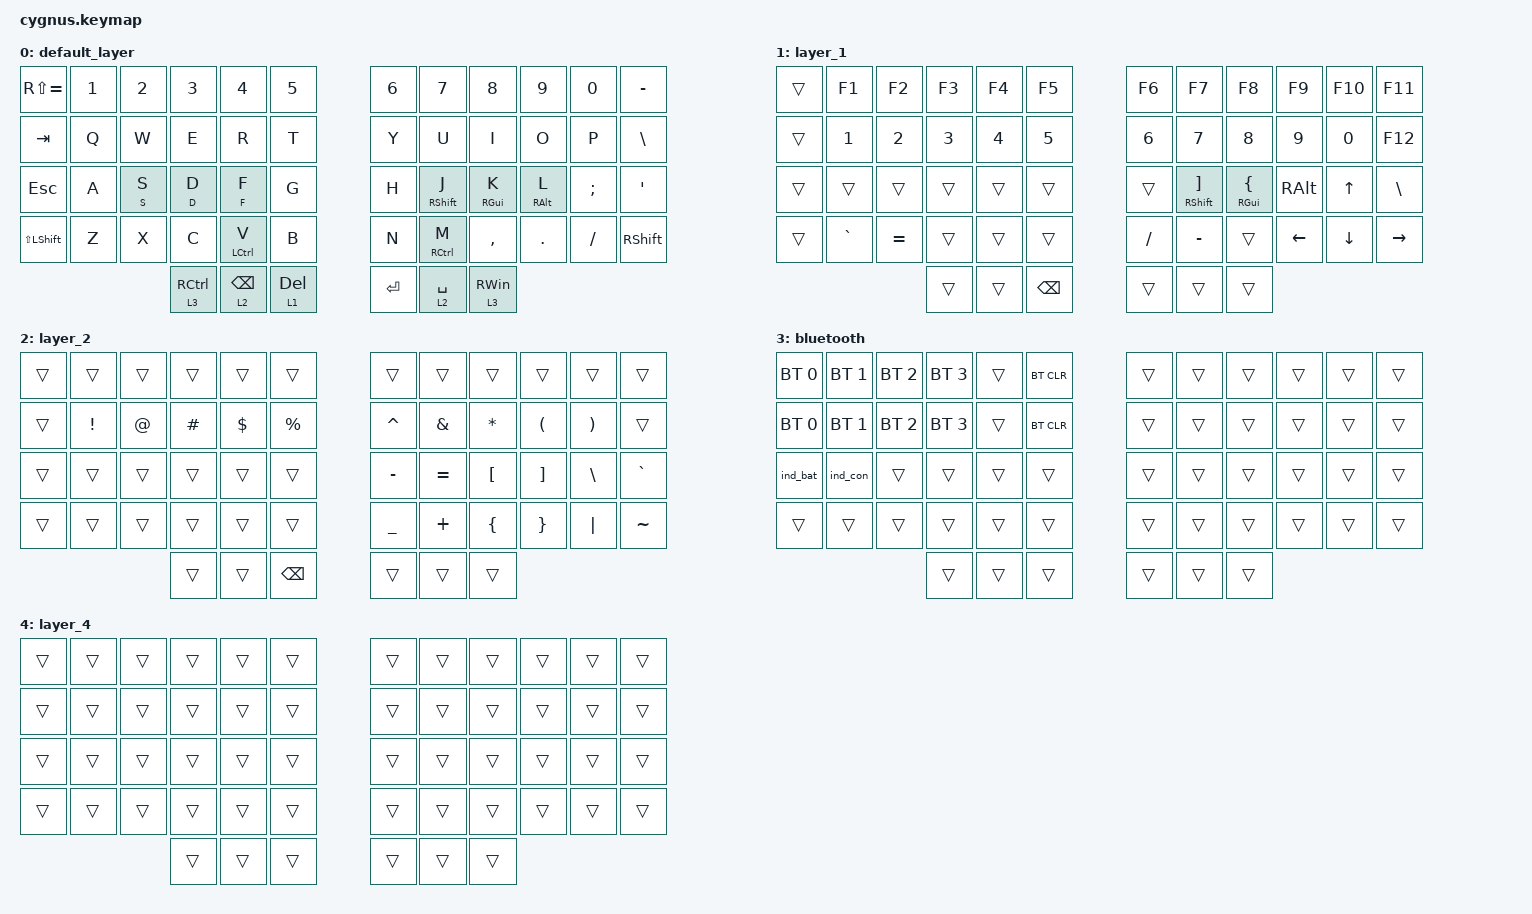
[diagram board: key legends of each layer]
#include <behaviors/rgbled_widget.dtsi>
#include <behaviors.dtsi>
#include <dt-bindings/zmk/bt.h>
#include <dt-bindings/zmk/keys.h>

/ {
    combos {
        compatible = "zmk,combos";

        bluetooth {
            bindings = <&mo 3>;
            key-positions = <41 36>;
        };

        bt2 {
            bindings = <&mo 3>;
            key-positions = <48 53>;
        };
    };

    behaviors {
        hml: hml {
            compatible = "zmk,behavior-hold-tap";
            label = "HOME_ROW_LEFT";
            bindings = <&kp>, <&kp>;

            #binding-cells = <2>;
            hold-trigger-key-positions = <6 7 8 9 10 11 18 19 20 21 22 23 30 31 32 33 34 35 42 43 44 45 46 47>;
            tapping-term-ms = <180>;
            quick-tap-ms = <175>;
            require-prior-idle-ms = <150>;
            flavor = "balanced";
            hold-trigger-on-release;
        };

        hmr: hmr {
            compatible = "zmk,behavior-hold-tap";
            label = "HOME_ROW_RIGHT";
            bindings = <&kp>, <&kp>;

            #binding-cells = <2>;
            tapping-term-ms = <180>;
            quick-tap-ms = <175>;
            require-prior-idle-ms = <150>;
            flavor = "balanced";
            hold-trigger-key-positions = <0 1 2 3 4 5 12 13 14 15 16 17 24 25 26 27 28 29 36 37 38 39 40 41>;
            hold-trigger-on-release;
        };
    };

    keymap {
        compatible = "zmk,keymap";

        default_layer {
            // -----------------------------------------------------------------------------------------
            // |  ESC |  1  |  2  |  3  |  4  |  5  |   |  6  |  7   |  8  |  9  |  0  |  ?   |
            // |  TAB |  Q  |  W  |  E  |  R  |  T  |   |  Y  |  U   |  I  |  O  |  P  | BKSP |
            // | CTRL |  A  |  S  |  D  |  F  |  G  |   |  H  |  J   |  K  |  L  |  ;  |  '   |
            // | SHFT |  Z  |  X  |  C  |  V  |  B  |   |  N  |  M   |  ,  |  .  |  /  | ESC  |
            //                    | GUI | LWR | SPC |   | ENT | RSE  | ALT |

            bindings = <
&kp RS(EQUAL)  &kp N1  &kp N2    &kp N3       &kp N4               &kp N5          &kp N6     &kp N7                &kp N8            &kp N9            &kp N0     &kp MINUS
&kp TAB        &kp Q   &kp W     &kp E        &kp R                &kp T           &kp Y      &kp U                 &kp I             &kp O             &kp P      &kp BACKSLASH
&kp ESC        &kp A   &hml S S  &hml D D     &hml F F             &kp G           &kp H      &hmr RIGHT_SHIFT J    &hmr RIGHT_GUI K  &hmr RIGHT_ALT L  &kp SEMI   &kp SQT
&kp LS(LSHFT)  &kp Z   &kp X     &kp C        &hml LEFT_CONTROL V  &kp B           &kp N      &hmr RIGHT_CONTROL M  &kp COMMA         &kp DOT           &kp SLASH  &kp RIGHT_SHIFT
                                 &lt 3 RCTRL  &lt 2 BACKSPACE      &lt 1 DELETE    &kp ENTER  &lt 2 SPACE           &lt 3 RIGHT_WIN
            >;
        };

        layer_1 {
            // -----------------------------------------------------------------------------------------
            // |  TAB |  F1 |  F2 |  F3 |  F4 |  F5 |   |  F6 |  F7 |  F8 |  F9 | F10 | BKSP |
            // |  TAB |  1  |  2  |  3  |  4  |  5  |   |  6  |  7  |  8  |  9  |  0  | BKSP |
            // | BTCLR| BT1 | BT2 | BT3 | BT4 | BT5 |   | LFT | DWN |  UP | RGT |     |      |
            // | SHFT |     |     |     |     |     |   |     |     |     |     |     |      |
            //                    | GUI |     | SPC |   | ENT |     | ALT |

            bindings = <
&trans  &kp F1        &kp F2        &kp F3        &kp F4        &kp F5           &kp F6     &kp F7                          &kp F8                     &kp F9         &kp F10       &kp F11
&trans  &kp NUMBER_1  &kp NUMBER_2  &kp NUMBER_3  &kp NUMBER_4  &kp N5           &kp N6     &kp N7                          &kp N8                     &kp N9         &kp N0        &kp F12
&trans  &trans        &trans        &trans        &trans        &trans           &trans     &hmr RIGHT_SHIFT RIGHT_BRACKET  &hmr RIGHT_GUI LEFT_BRACE  &kp RIGHT_ALT  &kp UP_ARROW  &kp BSLH
&trans  &kp GRAVE     &kp EQUAL     &trans        &trans        &trans           &kp SLASH  &kp MINUS                       &trans                     &kp LEFT       &kp DOWN      &kp RIGHT
                                    &trans        &trans        &kp BACKSPACE    &trans     &trans                          &trans
            >;
        };

        layer_2 {
            // -----------------------------------------------------------------------------------------
            // |  TAB |  !  |  @  |  #  |  $  |  %  |   |  ^  |  &  |  *  |  (  |  )  | BKSP |
            // | CTRL |     |     |     |     |     |   |  -  |  =  |  [  |  ]  |  \  |  `   |
            // | SHFT |     |     |     |     |     |   |  _  |  +  |  {  |  }  | "|" |  ~   |
            //                    | GUI |     | SPC |   | ENT |     | ALT |

            bindings = <
&trans  &trans    &trans  &trans    &trans    &trans           &trans     &trans     &trans     &trans    &trans    &trans
&trans  &kp EXCL  &kp AT  &kp HASH  &kp DLLR  &kp PRCNT        &kp CARET  &kp AMPS   &kp ASTRK  &kp LPAR  &kp RPAR  &trans
&trans  &trans    &trans  &trans    &trans    &trans           &kp MINUS  &kp EQUAL  &kp LBKT   &kp RBKT  &kp BSLH  &kp GRAVE
&trans  &trans    &trans  &trans    &trans    &trans           &kp UNDER  &kp PLUS   &kp LBRC   &kp RBRC  &kp PIPE  &kp TILDE
                          &trans    &trans    &kp BACKSPACE    &trans     &trans     &trans
            >;
        };

        bluetooth {
            bindings = <
&bt BT_SEL 0  &bt BT_SEL 1  &bt BT_SEL 2  &bt BT_SEL 3  &trans  &bt BT_CLR    &trans  &trans  &trans  &trans  &trans  &trans
&bt BT_SEL 0  &bt BT_SEL 1  &bt BT_SEL 2  &bt BT_SEL 3  &trans  &bt BT_CLR    &trans  &trans  &trans  &trans  &trans  &trans
&ind_bat      &ind_con      &trans        &trans        &trans  &trans        &trans  &trans  &trans  &trans  &trans  &trans
&trans        &trans        &trans        &trans        &trans  &trans        &trans  &trans  &trans  &trans  &trans  &trans
                                          &trans        &trans  &trans        &trans  &trans  &trans
            >;
        };

        layer_4 {
            bindings = <
&trans  &trans  &trans  &trans  &trans  &trans    &trans  &trans  &trans  &trans  &trans  &trans
&trans  &trans  &trans  &trans  &trans  &trans    &trans  &trans  &trans  &trans  &trans  &trans
&trans  &trans  &trans  &trans  &trans  &trans    &trans  &trans  &trans  &trans  &trans  &trans
&trans  &trans  &trans  &trans  &trans  &trans    &trans  &trans  &trans  &trans  &trans  &trans
                        &trans  &trans  &trans    &trans  &trans  &trans
            >;
        };
    };
};
